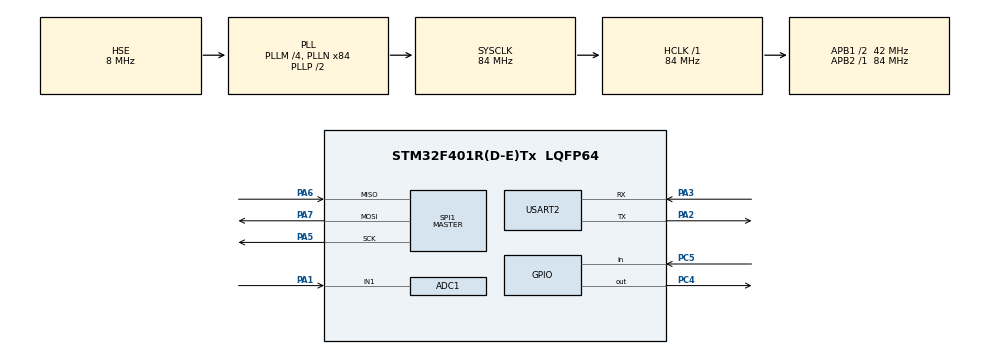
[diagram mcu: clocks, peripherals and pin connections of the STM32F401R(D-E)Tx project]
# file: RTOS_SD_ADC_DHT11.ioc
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ADC1.Channel-0\#ChannelRegularConversion=ADC_CHANNEL_1
ADC1.ContinuousConvMode=ENABLE
ADC1.NbrOfConversionFlag=1
ADC1.Rank-0\#ChannelRegularConversion=1
ADC1.SamplingTime-0\#ChannelRegularConversion=ADC_SAMPLETIME_3CYCLES
ADC1.ScanConvMode=ENABLE
ADC1.master=1
FREERTOS.Tasks01=defaultTask,0,128,StartDefaultTask,Default,NULL,Dynamic,NULL,NULL
Mcu.Family=STM32F4
Mcu.Name=STM32F401R(D-E)Tx
Mcu.Package=LQFP64
NVIC.PriorityGroup=NVIC_PRIORITYGROUP_4
NVIC.TIM1_UP_TIM10_IRQn=true\:5\:0\:false\:false\:true\:true\:true\:true
NVIC.TIM3_IRQn=true\:0\:0\:false\:false\:true\:false\:false\:true
NVIC.TimeBase=TIM3_IRQn
NVIC.TimeBaseIP=TIM3
PA1.Signal=ADCx_IN1
PA2.Mode=Asynchronous
PA2.Signal=USART2_TX
PA3.Mode=Asynchronous
PA3.Signal=USART2_RX
PA5.Mode=Full_Duplex_Master
PA5.Signal=SPI1_SCK
PA6.Mode=Full_Duplex_Master
PA6.Signal=SPI1_MISO
PA7.Mode=Full_Duplex_Master
PA7.Signal=SPI1_MOSI
PC4.Signal=GPIO_Output
PC5.Signal=GPIO_Input
PH0\ -\ OSC_IN.Mode=HSE-External-Oscillator
PH0\ -\ OSC_IN.Signal=RCC_OSC_IN
PH1\ -\ OSC_OUT.Mode=HSE-External-Oscillator
PH1\ -\ OSC_OUT.Signal=RCC_OSC_OUT
ProjectManager.HeapSize=0x200
ProjectManager.StackSize=0x400
ProjectManager.TargetToolchain=STM32CubeIDE
RCC.48MHZClocksFreq_Value=42000000
RCC.AHBFreq_Value=84000000
RCC.APB1CLKDivider=RCC_HCLK_DIV2
RCC.APB1Freq_Value=42000000
RCC.APB1TimFreq_Value=84000000
RCC.APB2Freq_Value=84000000
RCC.APB2TimFreq_Value=84000000
RCC.CortexFreq_Value=84000000
RCC.HCLKFreq_Value=84000000
RCC.HSE_VALUE=8000000
RCC.HSI_VALUE=16000000
RCC.LSE_VALUE=32768
RCC.PLLM=4
RCC.PLLN=84
RCC.PLLSourceVirtual=RCC_PLLSOURCE_HSE
RCC.SYSCLKFreq_VALUE=84000000
RCC.SYSCLKSource=RCC_SYSCLKSOURCE_PLLCLK
RCC.VCOOutputFreq_Value=168000000
SH.ADCx_IN1.0=ADC1_IN1,IN1
SPI1.Direction=SPI_DIRECTION_2LINES
SPI1.Mode=SPI_MODE_MASTER
SPI1.VirtualType=VM_MASTER
TIM1.Period=2000-1
TIM1.Prescaler=8400-1
TIM10.Prescaler=84-1
USART2.VirtualMode=VM_ASYNC
VP_FATFS_VS_Generic.Mode=User_defined
VP_FREERTOS_VS_CMSIS_V1.Mode=CMSIS_V1
VP_SYS_VS_tim3.Mode=TIM3
VP_TIM10_VS_ClockSourceINT.Mode=Enable_Timer
VP_TIM1_VS_ClockSourceINT.Mode=Internal
board=custom

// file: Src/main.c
/* USER CODE BEGIN Header */
/**
  ******************************************************************************
  * @file           : main.c
  * @brief          : Main program body
  ******************************************************************************
  * @attention
  *
  * <h2><center>&copy; Copyright (c) 2021 STMicroelectronics.
  * All rights reserved.</center></h2>
  *
  * This software component is licensed by ST under Ultimate Liberty license
  * SLA0044, the "License"; You may not use this file except in compliance with
  * the License. You may obtain a copy of the License at:
  *                             www.st.com/SLA0044
  *
  ******************************************************************************
  */
/* USER CODE END Header */
#include "main.h"

#include "fatfs.h"

#include "FreeRTOS.h"
#include "task.h"
#include "timers.h"
#include "queue.h"
#include "semphr.h"
#include "event_groups.h"
/* USER CODE BEGIN Includes */

#include "DHT11.h"
#include "fatfs_sd.h"
#include "File_Handling_RTOS.h"

/* USER CODE END Includes */

/* USER CODE BEGIN PTD */

TaskHandle_t ADCHandler;
TaskHandle_t DHT11Handler;
TaskHandle_t SDHandler;

SemaphoreHandle_t binsima;

/* USER CODE END PTD */

ADC_HandleTypeDef hadc1;

SPI_HandleTypeDef hspi1;

TIM_HandleTypeDef htim1;
TIM_HandleTypeDef htim10;

UART_HandleTypeDef huart2;

void SystemClock_Config(void);
static void MX_GPIO_Init(void);
static void MX_ADC1_Init(void);
static void MX_SPI1_Init(void);
static void MX_TIM1_Init(void);
static void MX_TIM10_Init(void);
static void MX_USART2_UART_Init(void);

void ADCs(void *argument);
void DHT11(void *argument);
void SD(void *argument);

/* USER CODE BEGIN 0 */
uint8_t ADC_val=0;
uint32_t Temperature, Humidity;

/* USER CODE END 0 */

int main(void)
{

  /* MCU Configuration--------------------------------------------------------*/

  /* Reset of all peripherals, Initializes the Flash interface and the Systick. */
  HAL_Init();

  /* Configure the system clock */
  SystemClock_Config();

  /* Initialize all configured peripherals */
  MX_GPIO_Init();
  MX_ADC1_Init();
  MX_SPI1_Init();
  MX_TIM1_Init();
  MX_TIM10_Init();
  MX_USART2_UART_Init();
  MX_FATFS_Init();
  /* USER CODE BEGIN 2 */

  Mount_SD("/");
  Format_SD();
  Create_File("ADC_DATA.TXT");
  Create_File("TEMP.TXT");
  Unmount_SD("/");

  /**********************sema create***********************/
  binsima = xSemaphoreCreateBinary();
  if(binsima!=NULL){
	  HAL_UART_Transmit(&huart2, "BInSEMA Create", 15, HAL_MAX_DELAY);
  }

  xTaskCreate(ADCs, "ADC", 128, NULL, 1, ADCHandler);
  xTaskCreate(DHT11, "DHT11", 128, NULL, 0, DHT11Handler);
  xTaskCreate(SD, "SD", 128, NULL, 2, SDHandler);

  HAL_TIM_Base_Start(&htim10);  //for dht11
  HAL_TIM_Base_Start_IT(&htim1); //event 2s change

  /* Start scheduler */
  vTaskStartScheduler();

  /* We should never get here as control is now taken by the scheduler */
  /* Infinite loop */
  while (1)
  {

  }
}

void SystemClock_Config(void)
{
  RCC_OscInitTypeDef RCC_OscInitStruct = {0};
  RCC_ClkInitTypeDef RCC_ClkInitStruct = {0};

  /** Configure the main internal regulator output voltage
  */
  __HAL_RCC_PWR_CLK_ENABLE();
  __HAL_PWR_VOLTAGESCALING_CONFIG(PWR_REGULATOR_VOLTAGE_SCALE2);
  /** Initializes the RCC Oscillators according to the specified parameters
  * in the RCC_OscInitTypeDef structure.
  */
  RCC_OscInitStruct.OscillatorType = RCC_OSCILLATORTYPE_HSE;
  RCC_OscInitStruct.HSEState = RCC_HSE_ON;
  RCC_OscInitStruct.PLL.PLLState = RCC_PLL_ON;
  RCC_OscInitStruct.PLL.PLLSource = RCC_PLLSOURCE_HSE;
  RCC_OscInitStruct.PLL.PLLM = 4;
  RCC_OscInitStruct.PLL.PLLN = 84;
  RCC_OscInitStruct.PLL.PLLP = RCC_PLLP_DIV2;
  RCC_OscInitStruct.PLL.PLLQ = 4;
  if (HAL_RCC_OscConfig(&RCC_OscInitStruct) != HAL_OK)
  {
    Error_Handler();
  }
  /** Initializes the CPU, AHB and APB buses clocks
  */
  RCC_ClkInitStruct.ClockType = RCC_CLOCKTYPE_HCLK|RCC_CLOCKTYPE_SYSCLK
                              |RCC_CLOCKTYPE_PCLK1|RCC_CLOCKTYPE_PCLK2;
  RCC_ClkInitStruct.SYSCLKSource = RCC_SYSCLKSOURCE_PLLCLK;
  RCC_ClkInitStruct.AHBCLKDivider = RCC_SYSCLK_DIV1;
  RCC_ClkInitStruct.APB1CLKDivider = RCC_HCLK_DIV2;
  RCC_ClkInitStruct.APB2CLKDivider = RCC_HCLK_DIV1;

  if (HAL_RCC_ClockConfig(&RCC_ClkInitStruct, FLASH_LATENCY_2) != HAL_OK)
  {
    Error_Handler();
  }
}

static void MX_ADC1_Init(void)
{

  ADC_ChannelConfTypeDef sConfig = {0};

  /** Configure the global features of the ADC (Clock, Resolution, Data Alignment and number of conversion)
  */
  hadc1.Instance = ADC1;
  hadc1.Init.ClockPrescaler = ADC_CLOCK_SYNC_PCLK_DIV4;
  hadc1.Init.Resolution = ADC_RESOLUTION_12B;
  hadc1.Init.ScanConvMode = ENABLE;
  hadc1.Init.ContinuousConvMode = ENABLE;
  hadc1.Init.DiscontinuousConvMode = DISABLE;
  hadc1.Init.ExternalTrigConvEdge = ADC_EXTERNALTRIGCONVEDGE_NONE;
  hadc1.Init.ExternalTrigConv = ADC_SOFTWARE_START;
  hadc1.Init.DataAlign = ADC_DATAALIGN_RIGHT;
  hadc1.Init.NbrOfConversion = 1;
  hadc1.Init.DMAContinuousRequests = DISABLE;
  hadc1.Init.EOCSelection = ADC_EOC_SINGLE_CONV;
  if (HAL_ADC_Init(&hadc1) != HAL_OK)
  {
    Error_Handler();
  }
  /** Configure for the selected ADC regular channel its corresponding rank in the sequencer and its sample time.
  */
  sConfig.Channel = ADC_CHANNEL_1;
  sConfig.Rank = 1;
  sConfig.SamplingTime = ADC_SAMPLETIME_3CYCLES;
  if (HAL_ADC_ConfigChannel(&hadc1, &sConfig) != HAL_OK)
  {
    Error_Handler();
  }

}

static void MX_SPI1_Init(void)
{

  /* SPI1 parameter configuration*/
  hspi1.Instance = SPI1;
  hspi1.Init.Mode = SPI_MODE_MASTER;
  hspi1.Init.Direction = SPI_DIRECTION_2LINES;
  hspi1.Init.DataSize = SPI_DATASIZE_8BIT;
  hspi1.Init.CLKPolarity = SPI_POLARITY_LOW;
  hspi1.Init.CLKPhase = SPI_PHASE_1EDGE;
  hspi1.Init.NSS = SPI_NSS_SOFT;
  hspi1.Init.BaudRatePrescaler = SPI_BAUDRATEPRESCALER_2;
  hspi1.Init.FirstBit = SPI_FIRSTBIT_MSB;
  hspi1.Init.TIMode = SPI_TIMODE_DISABLE;
  hspi1.Init.CRCCalculation = SPI_CRCCALCULATION_DISABLE;
  hspi1.Init.CRCPolynomial = 10;
  if (HAL_SPI_Init(&hspi1) != HAL_OK)
  {
    Error_Handler();
  }

}

static void MX_TIM1_Init(void)
{

  TIM_ClockConfigTypeDef sClockSourceConfig = {0};
  TIM_MasterConfigTypeDef sMasterConfig = {0};

  htim1.Instance = TIM1;
  htim1.Init.Prescaler = 8400-1;
  htim1.Init.CounterMode = TIM_COUNTERMODE_UP;
  htim1.Init.Period = 2000-1;
  htim1.Init.ClockDivision = TIM_CLOCKDIVISION_DIV1;
  htim1.Init.RepetitionCounter = 0;
  htim1.Init.AutoReloadPreload = TIM_AUTORELOAD_PRELOAD_DISABLE;
  if (HAL_TIM_Base_Init(&htim1) != HAL_OK)
  {
    Error_Handler();
  }
  sClockSourceConfig.ClockSource = TIM_CLOCKSOURCE_INTERNAL;
  if (HAL_TIM_ConfigClockSource(&htim1, &sClockSourceConfig) != HAL_OK)
  {
    Error_Handler();
  }
  sMasterConfig.MasterOutputTrigger = TIM_TRGO_RESET;
  sMasterConfig.MasterSlaveMode = TIM_MASTERSLAVEMODE_DISABLE;
  if (HAL_TIMEx_MasterConfigSynchronization(&htim1, &sMasterConfig) != HAL_OK)
  {
    Error_Handler();
  }

}

static void MX_TIM10_Init(void)
{

  htim10.Instance = TIM10;
  htim10.Init.Prescaler = 84-1;
  htim10.Init.CounterMode = TIM_COUNTERMODE_UP;
  htim10.Init.Period = 65535;
  htim10.Init.ClockDivision = TIM_CLOCKDIVISION_DIV1;
  htim10.Init.AutoReloadPreload = TIM_AUTORELOAD_PRELOAD_DISABLE;
  if (HAL_TIM_Base_Init(&htim10) != HAL_OK)
  {
    Error_Handler();
  }

}

static void MX_USART2_UART_Init(void)
{

  huart2.Instance = USART2;
  huart2.Init.BaudRate = 115200;
  huart2.Init.WordLength = UART_WORDLENGTH_8B;
  huart2.Init.StopBits = UART_STOPBITS_1;
  huart2.Init.Parity = UART_PARITY_NONE;
  huart2.Init.Mode = UART_MODE_TX_RX;
  huart2.Init.HwFlowCtl = UART_HWCONTROL_NONE;
  huart2.Init.OverSampling = UART_OVERSAMPLING_16;
  if (HAL_UART_Init(&huart2) != HAL_OK)
  {
    Error_Handler();
  }

}

static void MX_GPIO_Init(void)
{
  GPIO_InitTypeDef GPIO_InitStruct = {0};

  /* GPIO Ports Clock Enable */
  __HAL_RCC_GPIOH_CLK_ENABLE();
  __HAL_RCC_GPIOA_CLK_ENABLE();
  __HAL_RCC_GPIOC_CLK_ENABLE();

  /*Configure GPIO pin Output Level */
  HAL_GPIO_WritePin(GPIOC, GPIO_PIN_4, GPIO_PIN_RESET);

  /*Configure GPIO pin : PC4 */
  GPIO_InitStruct.Pin = GPIO_PIN_4;
  GPIO_InitStruct.Mode = GPIO_MODE_OUTPUT_PP;
  GPIO_InitStruct.Pull = GPIO_NOPULL;
  GPIO_InitStruct.Speed = GPIO_SPEED_FREQ_LOW;
  HAL_GPIO_Init(GPIOC, &GPIO_InitStruct);

  /*Configure GPIO pin : PC5 */
  GPIO_InitStruct.Pin = GPIO_PIN_5;
  GPIO_InitStruct.Mode = GPIO_MODE_INPUT;
  GPIO_InitStruct.Pull = GPIO_NOPULL;
  HAL_GPIO_Init(GPIOC, &GPIO_InitStruct);

}

/* USER CODE BEGIN 4 */

void ADCs(void *argument){
	while(1){
	HAL_ADC_Start(&hadc1);
	HAL_ADC_PollForConversion(&hadc1, HAL_MAX_DELAY);
	ADC_val= HAL_ADC_GetValue(&hadc1);
	HAL_ADC_Stop(&hadc1);

	vTaskDelay(2000);
	}
}

void DHT11(void *argument){

	while(1){
		if(xQueueSemaphoreTake(binsima, 2500)!=pdFALSE){
			HAL_UART_Transmit(&huart2, "failed", 7, HAL_MAX_DELAY);
		}
		else{

			DHT11_Get_Data(Temperature, Humidity);
			HAL_UART_Transmit(&huart2, Temperature, strlen(Temperature), 400);
			HAL_UART_Transmit(&huart2, Humidity, strlen(Humidity), 400);
		}
	}

}
void SD(void *argument){
	uint8_t index=0;
	while(1){
		char *buffer= pvPortMalloc(50*sizeof(char));
		sprintf(buffer,"%d.   ADC = %d \r\n",index,ADC_val);
		Mount_SD("/");
		Update_File("ADC_DATA.TXT", buffer);
		sprintf(buffer,"%d.  Temp= %d  humidity=%d  \r\n ",index,Temperature,Humidity);
		Update_File("TEMP.TXT", buffer);
		vPortFree(buffer);
		Unmount_SD("/");

		index++;

		vTaskDelay(3000);
	}
}

/* USER CODE END 4 */

 /**
  * @brief  Period elapsed callback in non blocking mode
  * @note   This function is called  when TIM3 interrupt took place, inside
  * HAL_TIM_IRQHandler(). It makes a direct call to HAL_IncTick() to increment
  * a global variable "uwTick" used as application time base.
  * @param  htim : TIM handle
  * @retval None
  */
void HAL_TIM_PeriodElapsedCallback(TIM_HandleTypeDef *htim)
{
  if (htim->Instance == TIM3) {
    HAL_IncTick();
  }
}

void Error_Handler(void)
{
  __disable_irq();
  while (1)
  {
  }
}

/************************ (C) COPYRIGHT STMicroelectronics *****END OF FILE****/
